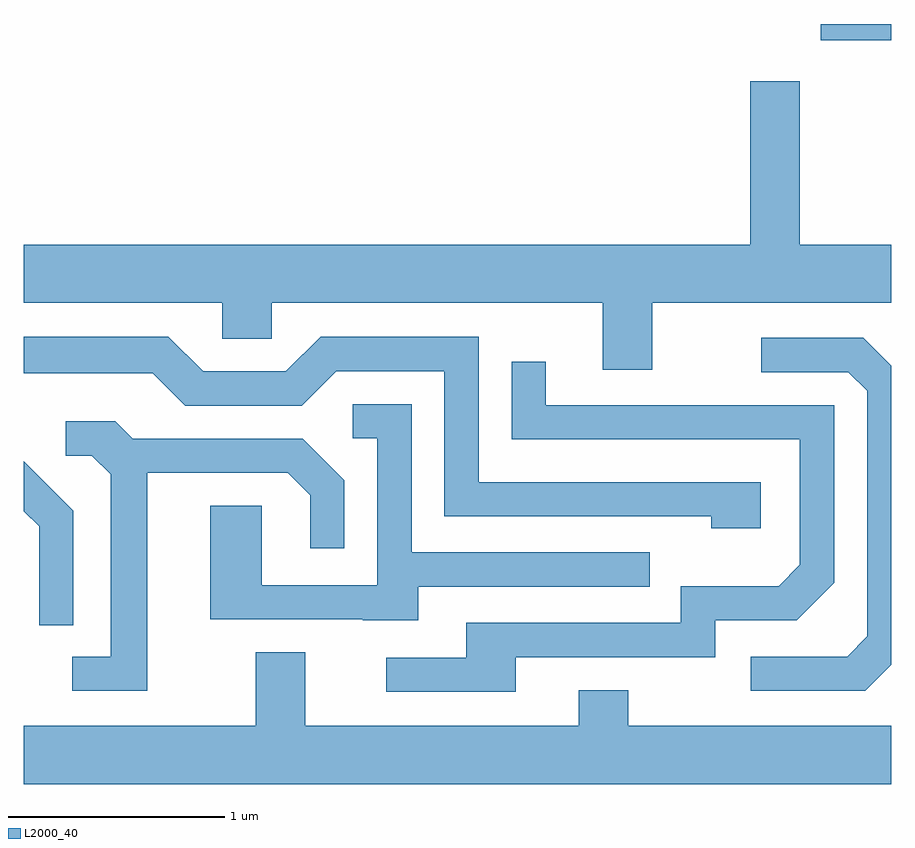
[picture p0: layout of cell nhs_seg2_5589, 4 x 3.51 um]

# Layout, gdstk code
import gdstk
lib = gdstk.Library(unit=1e-6, precision=1e-09)
def R(c, l, rs):  # rectangles x0, y0, x1, y1
    for r in rs: c.add(gdstk.rectangle(r[:2], r[2:], *l))
def P(c, l, *ps):  # polygons
    for p in ps: c.add(gdstk.Polygon(p, *l))
L2000_40 = (2000, 40)

nhs_seg2_5589 = lib.new_cell('nhs_seg2_5589')
R(nhs_seg2_5589, L2000_40, [(353.286,1071.726,353.611,1071.802)])
P(nhs_seg2_5589, L2000_40, [(352.509,1070.516),(353.611,1070.516),(353.611,1070.784),(353.189,1070.784),(353.189,1071.539),(352.961,1071.539),(352.961,1070.784),(349.611,1070.784),(349.611,1070.516),(350.526,1070.516),(350.526,1070.351),(350.754,1070.351),(350.754,1070.516),(352.281,1070.516),(352.281,1070.206),(352.509,1070.206)],
  [(353.009,1069.689),(351.709,1069.689),(351.709,1070.359),(350.979,1070.359),(350.819,1070.199),(350.437,1070.199),(350.277,1070.359),(349.611,1070.359),(349.611,1070.191),(350.204,1070.191),(350.354,1070.041),(350.892,1070.041),(351.052,1070.201),(351.551,1070.201),(351.551,1069.531),(352.781,1069.531),(352.781,1069.476),(353.009,1069.476)],
  [(353.611,1068.846),(353.611,1070.225),(353.482,1070.354),(353.013,1070.354),(353.013,1070.196),(353.414,1070.196),(353.501,1070.109),(353.501,1068.977),(353.409,1068.884),(352.963,1068.884),(352.963,1068.726),(353.492,1068.726)],
  [(351.879,1068.881),(352.799,1068.881),(352.799,1069.051),(353.177,1069.051),(353.349,1069.224),(353.349,1070.044),(352.019,1070.044),(352.019,1070.243),(351.861,1070.243),(351.861,1069.886),(353.191,1069.886),(353.191,1069.307),(353.094,1069.209),(352.641,1069.209),(352.641,1069.039),(351.651,1069.039),(351.651,1068.879),(351.283,1068.879),(351.283,1068.721),(351.879,1068.721)],
  [(351.429,1069.206),(352.498,1069.206),(352.498,1069.364),(351.399,1069.364),(351.399,1070.049),(351.128,1070.049),(351.128,1069.891),(351.241,1069.891),(351.241,1069.214),(350.709,1069.214),(350.709,1069.579),(350.471,1069.579),(350.471,1069.056),(351.175,1069.056),(351.175,1069.051),(351.429,1069.051)],
  [(350.179,1069.731),(350.829,1069.731),(350.931,1069.629),(350.931,1069.383),(351.089,1069.383),(351.089,1069.697),(350.897,1069.889),(350.112,1069.889),(350.032,1069.969),(349.803,1069.969),(349.803,1069.811),(349.924,1069.811),(350.011,1069.724),(350.011,1068.884),(349.833,1068.884),(349.833,1068.726),(350.179,1068.726)],
  [(349.839,1069.557),(349.611,1069.785),(349.611,1069.554),(349.681,1069.484),(349.681,1069.028),(349.839,1069.028)],
  [(353.611,1068.564),(352.399,1068.564),(352.399,1068.729),(352.171,1068.729),(352.171,1068.564),(350.909,1068.564),(350.909,1068.904),(350.681,1068.904),(350.681,1068.564),(349.611,1068.564),(349.611,1068.296),(353.611,1068.296)])

lib.write_gds('nhs_seg2_5589.gds')
